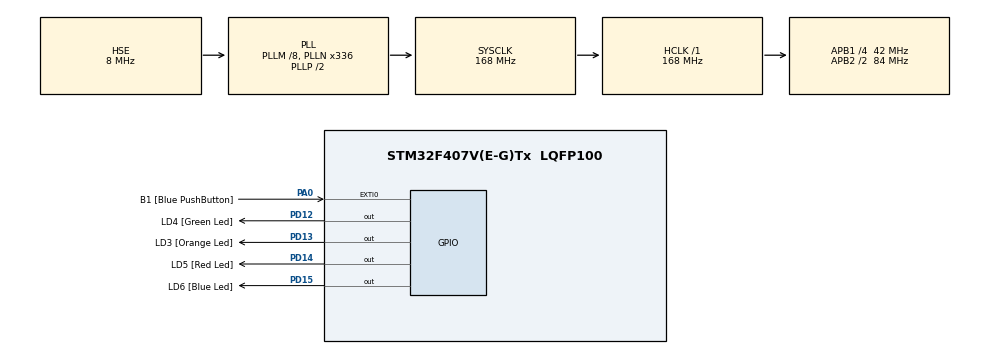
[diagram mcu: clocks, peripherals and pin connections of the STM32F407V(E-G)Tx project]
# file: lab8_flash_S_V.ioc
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Mcu.Family=STM32F4
RCC.PLLSourceVirtual=RCC_PLLSOURCE_HSE
PC15-OSC32_OUT.Mode=LSE-External-Oscillator
PD12.GPIO_Label=LD4 [Green Led]
PH0-OSC_IN.Signal=RCC_OSC_IN
RCC.CortexFreq_Value=168000000
PD12.GPIO_Speed=GPIO_SPEED_FREQ_LOW
PD15.GPIO_Label=LD6 [Blue Led]
PD15.GPIO_Speed=GPIO_SPEED_FREQ_LOW
PA14.GPIO_Label=SWCLK
RCC.APB1CLKDivider=RCC_HCLK_DIV4
PC14-OSC32_IN.Signal=RCC_OSC32_IN
PC15-OSC32_OUT.GPIO_Label=PC15-OSC32_OUT
PA0-WKUP.GPIO_ModeDefaultEXTI=GPIO_MODE_EVT_RISING
RCC.SYSCLKSource=RCC_SYSCLKSOURCE_PLLCLK
ProjectManager.StackSize=0x400
PA0-WKUP.GPIO_Label=B1 [Blue PushButton]
PA0-WKUP.Signal=GPXTI0
PA13.Signal=SYS_JTMS-SWDIO
PD13.Signal=GPIO_Output
PD14.GPIO_Speed=GPIO_SPEED_FREQ_LOW
ProjectManager.TargetToolchain=STM32CubeIDE
RCC.HCLKFreq_Value=168000000
RCC.APB2TimFreq_Value=168000000
PC15-OSC32_OUT.Signal=RCC_OSC32_OUT
RCC.AHBFreq_Value=168000000
PH0-OSC_IN.Mode=HSE-External-Oscillator
PH0-OSC_IN.GPIO_Label=PH0-OSC_IN
RCC.HSE_VALUE=8000000
board=STM32F407G-DISC1
PD13.GPIO_Speed=GPIO_SPEED_FREQ_LOW
RCC.VCOOutputFreq_Value=336000000
RCC.APB2Freq_Value=84000000
PC14-OSC32_IN.Mode=LSE-External-Oscillator
PA14.Mode=Serial_Wire
PH1-OSC_OUT.Signal=RCC_OSC_OUT
PD13.GPIO_PuPd=GPIO_NOPULL
PD14.GPIO_PuPd=GPIO_NOPULL
PD14.GPIO_Label=LD5 [Red Led]
PH1-OSC_OUT.GPIO_Label=PH1-OSC_OUT
PA13.Mode=Serial_Wire
Mcu.Name=STM32F407V(E-G)Tx
PA13.GPIO_Label=SWDIO
PD14.Signal=GPIO_Output
PH1-OSC_OUT.Mode=HSE-External-Oscillator
RCC.48MHZClocksFreq_Value=48000000
RCC.SYSCLKFreq_VALUE=168000000
PD13.GPIO_Label=LD3 [Orange Led]
Mcu.Package=LQFP100
PD12.Signal=GPIO_Output
PD15.GPIO_PuPd=GPIO_NOPULL
PA14.Signal=SYS_JTCK-SWCLK
ProjectManager.HeapSize=0x200
RCC.HSI_VALUE=16000000
RCC.PLLQ=7
NVIC.PriorityGroup=NVIC_PRIORITYGROUP_0
RCC.APB2CLKDivider=RCC_HCLK_DIV2
RCC.PLLM=8
RCC.PLLN=336
RCC.APB1TimFreq_Value=84000000
PA0-WKUP.GPIO_PuPd=GPIO_NOPULL
PC14-OSC32_IN.GPIO_Label=PC14-OSC32_IN
RCC.APB1Freq_Value=42000000
PD15.Signal=GPIO_Output
PD12.GPIO_PuPd=GPIO_NOPULL

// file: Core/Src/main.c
/* USER CODE BEGIN Header */
/**
  ******************************************************************************
  * @file           : main.c
  * @brief          : Main program body
  ******************************************************************************
  * @attention
  *
  * <h2><center>&copy; Copyright (c) 2021 STMicroelectronics.
  * All rights reserved.</center></h2>
  *
  * This software component is licensed by ST under Ultimate Liberty license
  * SLA0044, the "License"; You may not use this file except in compliance with
  * the License. You may obtain a copy of the License at:
  *                             www.st.com/SLA0044
  *
  ******************************************************************************
  */
/* USER CODE END Header */
#include "main.h"

/* USER CODE BEGIN Includes */
#include <stdint.h>
/* USER CODE END Includes */

/* USER CODE BEGIN PD */
#define FLASH_BANK_5_ADDR 0x08020000
/* USER CODE END PD */

/* USER CODE BEGIN PV */
uint32_t count_on_board = 0;
/* USER CODE END PV */

void SystemClock_Config(void);
static void MX_GPIO_Init(void);

int main(void)
{

  /* MCU Configuration--------------------------------------------------------*/

  /* Reset of all peripherals, Initializes the Flash interface and the Systick. */
  HAL_Init();

  /* Configure the system clock */
  SystemClock_Config();

  /* Initialize all configured peripherals */
  MX_GPIO_Init();
  /* USER CODE BEGIN 2 */

  count_on_board = *((uint32_t *)FLASH_BANK_5_ADDR);

  HAL_FLASH_Unlock();
  FLASH_Erase_Sector(FLASH_SECTOR_5, VOLTAGE_RANGE_3);
  HAL_FLASH_Program(FLASH_TYPEPROGRAM_WORD, (uint32_t)FLASH_BANK_5_ADDR, ++count_on_board);
  HAL_FLASH_Lock();
  switch(count_on_board % 4){
	case 0: HAL_GPIO_WritePin(GPIOD, GPIO_PIN_12, 1);
		break;
	case 1: HAL_GPIO_WritePin(GPIOD, GPIO_PIN_13, 1);
		break;
	case 2: HAL_GPIO_WritePin(GPIOD, GPIO_PIN_14, 1);
		break;
	case 3: HAL_GPIO_WritePin(GPIOD, GPIO_PIN_15, 1);
		break;
}

  /* USER CODE END 2 */

  /* Infinite loop */
  while (1)
  {

  }
}

void SystemClock_Config(void)
{
  RCC_OscInitTypeDef RCC_OscInitStruct = {0};
  RCC_ClkInitTypeDef RCC_ClkInitStruct = {0};

  /** Configure the main internal regulator output voltage
  */
  __HAL_RCC_PWR_CLK_ENABLE();
  __HAL_PWR_VOLTAGESCALING_CONFIG(PWR_REGULATOR_VOLTAGE_SCALE1);
  /** Initializes the RCC Oscillators according to the specified parameters
  * in the RCC_OscInitTypeDef structure.
  */
  RCC_OscInitStruct.OscillatorType = RCC_OSCILLATORTYPE_HSE;
  RCC_OscInitStruct.HSEState = RCC_HSE_ON;
  RCC_OscInitStruct.PLL.PLLState = RCC_PLL_ON;
  RCC_OscInitStruct.PLL.PLLSource = RCC_PLLSOURCE_HSE;
  RCC_OscInitStruct.PLL.PLLM = 8;
  RCC_OscInitStruct.PLL.PLLN = 336;
  RCC_OscInitStruct.PLL.PLLP = RCC_PLLP_DIV2;
  RCC_OscInitStruct.PLL.PLLQ = 7;
  if (HAL_RCC_OscConfig(&RCC_OscInitStruct) != HAL_OK)
  {
    Error_Handler();
  }
  /** Initializes the CPU, AHB and APB buses clocks
  */
  RCC_ClkInitStruct.ClockType = RCC_CLOCKTYPE_HCLK|RCC_CLOCKTYPE_SYSCLK
                              |RCC_CLOCKTYPE_PCLK1|RCC_CLOCKTYPE_PCLK2;
  RCC_ClkInitStruct.SYSCLKSource = RCC_SYSCLKSOURCE_PLLCLK;
  RCC_ClkInitStruct.AHBCLKDivider = RCC_SYSCLK_DIV1;
  RCC_ClkInitStruct.APB1CLKDivider = RCC_HCLK_DIV4;
  RCC_ClkInitStruct.APB2CLKDivider = RCC_HCLK_DIV2;

  if (HAL_RCC_ClockConfig(&RCC_ClkInitStruct, FLASH_LATENCY_5) != HAL_OK)
  {
    Error_Handler();
  }
}

static void MX_GPIO_Init(void)
{
  GPIO_InitTypeDef GPIO_InitStruct = {0};

  /* GPIO Ports Clock Enable */
  __HAL_RCC_GPIOC_CLK_ENABLE();
  __HAL_RCC_GPIOH_CLK_ENABLE();
  __HAL_RCC_GPIOA_CLK_ENABLE();
  __HAL_RCC_GPIOD_CLK_ENABLE();

  /*Configure GPIO pin Output Level */
  HAL_GPIO_WritePin(GPIOD, LD4_Pin|LD3_Pin|LD5_Pin|LD6_Pin, GPIO_PIN_RESET);

  /*Configure GPIO pin : B1_Pin */
  GPIO_InitStruct.Pin = B1_Pin;
  GPIO_InitStruct.Mode = GPIO_MODE_EVT_RISING;
  GPIO_InitStruct.Pull = GPIO_NOPULL;
  HAL_GPIO_Init(B1_GPIO_Port, &GPIO_InitStruct);

  /*Configure GPIO pins : LD4_Pin LD3_Pin LD5_Pin LD6_Pin */
  GPIO_InitStruct.Pin = LD4_Pin|LD3_Pin|LD5_Pin|LD6_Pin;
  GPIO_InitStruct.Mode = GPIO_MODE_OUTPUT_PP;
  GPIO_InitStruct.Pull = GPIO_NOPULL;
  GPIO_InitStruct.Speed = GPIO_SPEED_FREQ_LOW;
  HAL_GPIO_Init(GPIOD, &GPIO_InitStruct);

}

void Error_Handler(void)
{
  __disable_irq();
  while (1)
  {
  }
}

/************************ (C) COPYRIGHT STMicroelectronics *****END OF FILE****/
